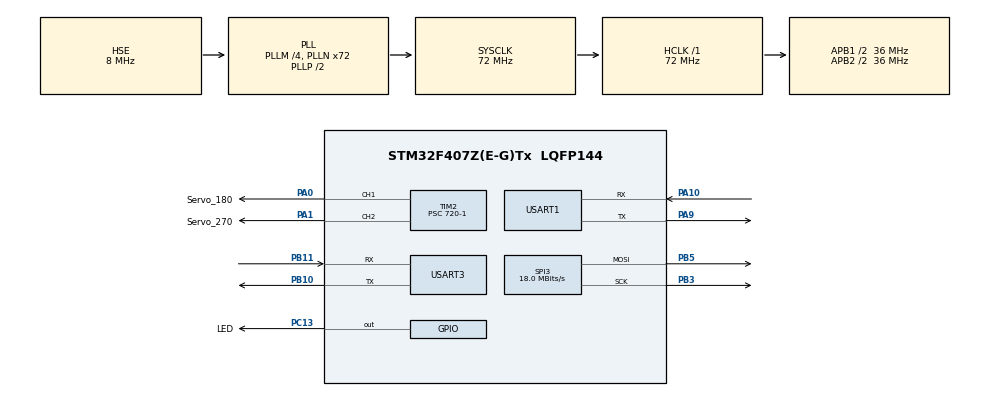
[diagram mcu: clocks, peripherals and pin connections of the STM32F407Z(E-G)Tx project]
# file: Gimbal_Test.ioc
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Mcu.Family=STM32F4
Mcu.Name=STM32F407Z(E-G)Tx
Mcu.Package=LQFP144
NVIC.PriorityGroup=NVIC_PRIORITYGROUP_4
NVIC.TIM1_UP_TIM10_IRQn=true\:0\:0\:false\:false\:true\:true\:true\:true
NVIC.USART3_IRQn=true\:0\:0\:false\:false\:true\:true\:true\:true
PA0-WKUP.GPIO_Label=Servo_180
PA0-WKUP.Signal=S_TIM2_CH1_ETR
PA1.GPIO_Label=Servo_270
PA1.Signal=S_TIM2_CH2
PA10.Mode=Asynchronous
PA10.Signal=USART1_RX
PA13.Mode=Serial_Wire
PA13.Signal=SYS_JTMS-SWDIO
PA14.Mode=Serial_Wire
PA14.Signal=SYS_JTCK-SWCLK
PA9.Mode=Asynchronous
PA9.Signal=USART1_TX
PB10.Mode=Asynchronous
PB10.Signal=USART3_TX
PB11.Mode=Asynchronous
PB11.Signal=USART3_RX
PB3.Mode=TX_Only_Simplex_Unidirect_Master
PB3.Signal=SPI3_SCK
PB5.Mode=TX_Only_Simplex_Unidirect_Master
PB5.Signal=SPI3_MOSI
PC13-ANTI_TAMP.GPIO_Label=LED
PC13-ANTI_TAMP.Signal=GPIO_Output
PC14-OSC32_IN.Mode=LSE-External-Oscillator
PC14-OSC32_IN.Signal=RCC_OSC32_IN
PC15-OSC32_OUT.Mode=LSE-External-Oscillator
PC15-OSC32_OUT.Signal=RCC_OSC32_OUT
PH0-OSC_IN.Mode=HSE-External-Oscillator
PH0-OSC_IN.Signal=RCC_OSC_IN
PH1-OSC_OUT.Mode=HSE-External-Oscillator
PH1-OSC_OUT.Signal=RCC_OSC_OUT
ProjectManager.HeapSize=0x200
ProjectManager.StackSize=0x400
ProjectManager.TargetToolchain=MDK-ARM V5
RCC.48MHZClocksFreq_Value=36000000
RCC.AHBFreq_Value=72000000
RCC.APB1CLKDivider=RCC_HCLK_DIV2
RCC.APB1Freq_Value=36000000
RCC.APB1TimFreq_Value=72000000
RCC.APB2CLKDivider=RCC_HCLK_DIV2
RCC.APB2Freq_Value=36000000
RCC.APB2TimFreq_Value=72000000
RCC.CortexFreq_Value=72000000
RCC.HCLKFreq_Value=72000000
RCC.HSE_VALUE=8000000
RCC.HSI_VALUE=16000000
RCC.PLLM=4
RCC.PLLN=72
RCC.PLLSourceVirtual=RCC_PLLSOURCE_HSE
RCC.SYSCLKFreq_VALUE=72000000
RCC.SYSCLKSource=RCC_SYSCLKSOURCE_PLLCLK
RCC.VCOOutputFreq_Value=144000000
SH.S_TIM2_CH1_ETR.0=TIM2_CH1,PWM Generation1 CH1
SH.S_TIM2_CH2.0=TIM2_CH2,PWM Generation2 CH2
SPI3.BaudRatePrescaler=SPI_BAUDRATEPRESCALER_2
SPI3.CalculateBaudRate=18.0 MBits/s
SPI3.Direction=SPI_DIRECTION_2LINES
SPI3.Mode=SPI_MODE_MASTER
SPI3.VirtualType=VM_MASTER
TIM1.AutoReloadPreload=TIM_AUTORELOAD_PRELOAD_ENABLE
TIM1.Period=10000-1
TIM1.Prescaler=72-1
TIM2.AutoReloadPreload=TIM_AUTORELOAD_PRELOAD_ENABLE
TIM2.Channel-PWM\ Generation1\ CH1=TIM_CHANNEL_1
TIM2.Channel-PWM\ Generation2\ CH2=TIM_CHANNEL_2
TIM2.Period=2000-1
TIM2.Prescaler=720-1
USART1.VirtualMode=VM_ASYNC
USART3.VirtualMode=VM_ASYNC
VP_TIM1_VS_ClockSourceINT.Mode=Internal
VP_TIM2_VS_ClockSourceINT.Mode=Internal
board=custom

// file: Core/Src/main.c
/* USER CODE BEGIN Header */
/**
 ******************************************************************************
 * @file           : main.c
 * @brief          : Main program body
 ******************************************************************************
 * @attention
 *
 * Copyright (c) 2023 STMicroelectronics.
 * All rights reserved.
 *
 * This software is licensed under terms that can be found in the LICENSE file
 * in the root directory of this software component.
 * If no LICENSE file comes with this software, it is provided AS-IS.
 *
 ******************************************************************************
 */
/* USER CODE END Header */
#include "main.h"
#include "spi.h"
#include "tim.h"
#include "usart.h"
#include "gpio.h"

/* USER CODE BEGIN Includes */
#include "lcd_spi_169.h"
#include "Servo.h"
#include "stdio.h"

/* USER CODE END Includes */

/* USER CODE BEGIN PTD */
Laser_PID Servo_A;
Laser_PID Servo_B;
/* USER CODE END PTD */

/* USER CODE BEGIN PD */
int tim1Count = 0; // 定时器1中断计数
extern int angle[2];
extern int deltaAngle[2];
char LCD_String[50] = {0};

uint8_t Uart3RxBuff;         // 进入中断接收数据的数组
uint8_t Uart3DataBuff[5000]; // 保存接收到的数据的数组
int Rx3Line = 0;             // 接收到的数据长度

extern Laser RedLaser;
extern Laser GreenLaser;
/* USER CODE END PD */

void SystemClock_Config(void);
/* USER CODE BEGIN PFP */
void LCD_Show(void);
/* USER CODE END PFP */

int main(void)
{

  /* MCU Configuration--------------------------------------------------------*/

  /* Reset of all peripherals, Initializes the Flash interface and the Systick. */
  HAL_Init();

  /* Configure the system clock */
  SystemClock_Config();

  /* Initialize all configured peripherals */
  MX_GPIO_Init();
  MX_TIM1_Init();
  MX_SPI3_Init();
  MX_USART1_UART_Init();
  MX_TIM2_Init();
  MX_USART3_UART_Init();
  /* USER CODE BEGIN 2 */
  // SPI_LCD_Init(); // SPI LCD初始化
  Laser_Init();               // 初始化红绿激光的坐标参数等
  Servo_A_PID_Init(&Servo_A); // 初始化舵机A的PID参数
  Servo_B_PID_Init(&Servo_B); // 初始化舵机B的PID参数

  HAL_TIM_Base_Start_IT(&htim1); // 启动定时器1中断
  HAL_TIM_PWM_Start(&htim2, TIM_CHANNEL_1);
  HAL_TIM_PWM_Start(&htim2, TIM_CHANNEL_2);
  HAL_UART_Receive_IT(&huart3, &Uart3RxBuff, 1); // 串口2接收中断

  /* USER CODE END 2 */

  /* Infinite loop */
  /* USER CODE BEGIN WHILE */
  while (1)
  {
    // setServoAngle(angle[0], angle[1]);
    // LCD_Show();
    /* USER CODE END WHILE */

  }
}

void SystemClock_Config(void)
{
  RCC_OscInitTypeDef RCC_OscInitStruct = {0};
  RCC_ClkInitTypeDef RCC_ClkInitStruct = {0};

  /** Configure the main internal regulator output voltage
   */
  __HAL_RCC_PWR_CLK_ENABLE();
  __HAL_PWR_VOLTAGESCALING_CONFIG(PWR_REGULATOR_VOLTAGE_SCALE1);

  /** Initializes the RCC Oscillators according to the specified parameters
   * in the RCC_OscInitTypeDef structure.
   */
  RCC_OscInitStruct.OscillatorType = RCC_OSCILLATORTYPE_HSE;
  RCC_OscInitStruct.HSEState = RCC_HSE_ON;
  RCC_OscInitStruct.PLL.PLLState = RCC_PLL_ON;
  RCC_OscInitStruct.PLL.PLLSource = RCC_PLLSOURCE_HSE;
  RCC_OscInitStruct.PLL.PLLM = 4;
  RCC_OscInitStruct.PLL.PLLN = 72;
  RCC_OscInitStruct.PLL.PLLP = RCC_PLLP_DIV2;
  RCC_OscInitStruct.PLL.PLLQ = 4;
  if (HAL_RCC_OscConfig(&RCC_OscInitStruct) != HAL_OK)
  {
    Error_Handler();
  }

  /** Initializes the CPU, AHB and APB buses clocks
   */
  RCC_ClkInitStruct.ClockType = RCC_CLOCKTYPE_HCLK | RCC_CLOCKTYPE_SYSCLK | RCC_CLOCKTYPE_PCLK1 | RCC_CLOCKTYPE_PCLK2;
  RCC_ClkInitStruct.SYSCLKSource = RCC_SYSCLKSOURCE_PLLCLK;
  RCC_ClkInitStruct.AHBCLKDivider = RCC_SYSCLK_DIV1;
  RCC_ClkInitStruct.APB1CLKDivider = RCC_HCLK_DIV2;
  RCC_ClkInitStruct.APB2CLKDivider = RCC_HCLK_DIV2;

  if (HAL_RCC_ClockConfig(&RCC_ClkInitStruct, FLASH_LATENCY_2) != HAL_OK)
  {
    Error_Handler();
  }
}

/* USER CODE BEGIN 4 */
void HAL_TIM_PeriodElapsedCallback(TIM_HandleTypeDef *htim)
{
  tim1Count++;
  if (htim == &htim1) // htim1 | 100Hz | 10ms
  {
    if (RedLaser.IS_DETECTED == 1)
    {
      Trace_PID_Servo_A(RedLaser.y, K210_SCREEN_CENTER_Y, &Servo_A);
      Trace_PID_Servo_B(RedLaser.x, K210_SCREEN_CENTER_X, &Servo_B);
      setServoAngle(angle[0] + deltaAngle[0], angle[1] - deltaAngle[1]);
    }
    else
    {
      setServoAngle(angle[0], angle[1]);
    }
    // printf("red:%d,%d;green:%d,%d\r\n", RedLaser.x, RedLaser.y, GreenLaser.x, GreenLaser.y);

    if (tim1Count > 40) // 400ms
    {
      HAL_GPIO_TogglePin(LED_GPIO_Port, LED_Pin);
      tim1Count = 0;
    }
  }
}

void LCD_Show()
{
  LCD_SetDirection(Direction_V);
  LCD_SetTextFont(&CH_Font20);
  LCD_SetColor(LIGHT_YELLOW);
  LCD_SetBackColor(LCD_BLACK);

  LCD_DisplayText(13, 40, "test");

  // sprintf(LCD_String, "Gx:%d  Gy:%d        ", greenLaserPosition[0], greenLaserPosition[1]);
  // LCD_DisplayText(13, 40, LCD_String);
}
/* USER CODE END 4 */

void Error_Handler(void)
{
  __disable_irq();
  while (1)
  {
  }
}
